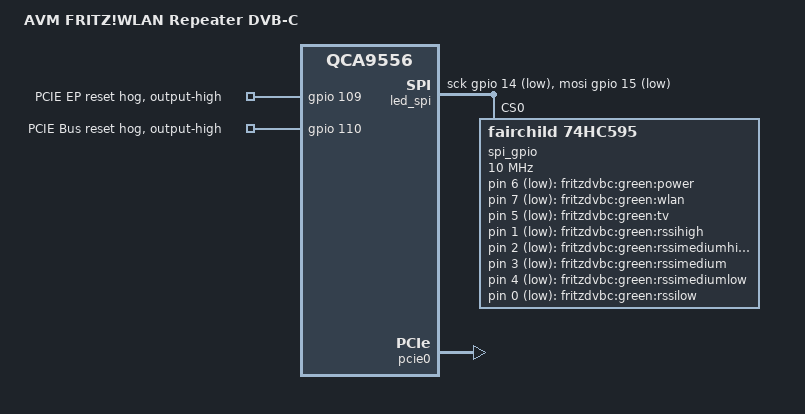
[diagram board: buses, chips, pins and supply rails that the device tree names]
// SPDX-License-Identifier: GPL-2.0-or-later OR MIT

#include "qca9556_avm_fritz-repeater.dtsi"

/ {
	compatible = "avm,fritzdvbc", "qca,qca9556";
	model = "AVM FRITZ!WLAN Repeater DVB-C";

	aliases {
		led-boot = &led_power;
		led-failsafe = &led_power;
		led-running = &led_power;
		led-upgrade = &led_power;
	};

	led_spi {
		compatible = "spi-gpio";
		#address-cells = <1>;
		#size-cells = <0>;

		sck-gpios = <&gpio 14 GPIO_ACTIVE_LOW>;
		mosi-gpios = <&gpio 15 GPIO_ACTIVE_LOW>;
		num-chipselects = <0>;

		spi_gpio: led_gpio@0 {
			compatible = "fairchild,74hc595";
			reg = <0>;
			gpio-controller;
			#gpio-cells = <2>;
			registers-number = <2>;
			spi-max-frequency = <10000000>;

			gpio_latch_bit {
				gpio-hog;
				gpios = <16 GPIO_ACTIVE_HIGH>;
				output-high;
				line-name = "gpio-latch-bit";
			};
		};
	};

	/*
	 * GPIO pins 100 or greater in the vendor GPL dump are redirected
	 * to the shift register.
	 * So OEM source pin 100 becomes 0 on the SR and so forth.
	 */
	leds {
		compatible = "gpio-leds";

		led_power: power {
			label = "fritzdvbc:green:power";
			gpios = <&spi_gpio 6 GPIO_ACTIVE_LOW>;
		};

		wlan {
			label = "fritzdvbc:green:wlan";
			gpios = <&spi_gpio 7 GPIO_ACTIVE_LOW>;
			linux,default-trigger = "phy1tpt";
		};

		tv {
			label = "fritzdvbc:green:tv";
			gpios = <&spi_gpio 5 GPIO_ACTIVE_LOW>;
		};

		rssihigh {
			label = "fritzdvbc:green:rssihigh";
			gpios = <&spi_gpio 1 GPIO_ACTIVE_LOW>;
		};

		rssimediumhigh {
			label = "fritzdvbc:green:rssimediumhigh";
			gpios = <&spi_gpio 2 GPIO_ACTIVE_LOW>;
		};

		rssimedium {
			label = "fritzdvbc:green:rssimedium";
			gpios = <&spi_gpio 3 GPIO_ACTIVE_LOW>;
		};

		rssimediumlow {
			label = "fritzdvbc:green:rssimediumlow";
			gpios = <&spi_gpio 4 GPIO_ACTIVE_LOW>;
		};

		rssilow {
			label = "fritzdvbc:green:rssilow";
			gpios = <&spi_gpio 0 GPIO_ACTIVE_LOW>;
		};
	};
};

&pcie0 {
	status = "okay";
};

&gpio {
	reset-pcie-ep {
		gpio-hog;
		gpios = <109 GPIO_ACTIVE_HIGH>;
		output-high;
		line-name = "PCIE EP reset";
	};

	reset-pcie-bus {
		gpio-hog;
		gpios = <110 GPIO_ACTIVE_HIGH>;
		output-high;
		line-name = "PCIE Bus reset";
	};
};
